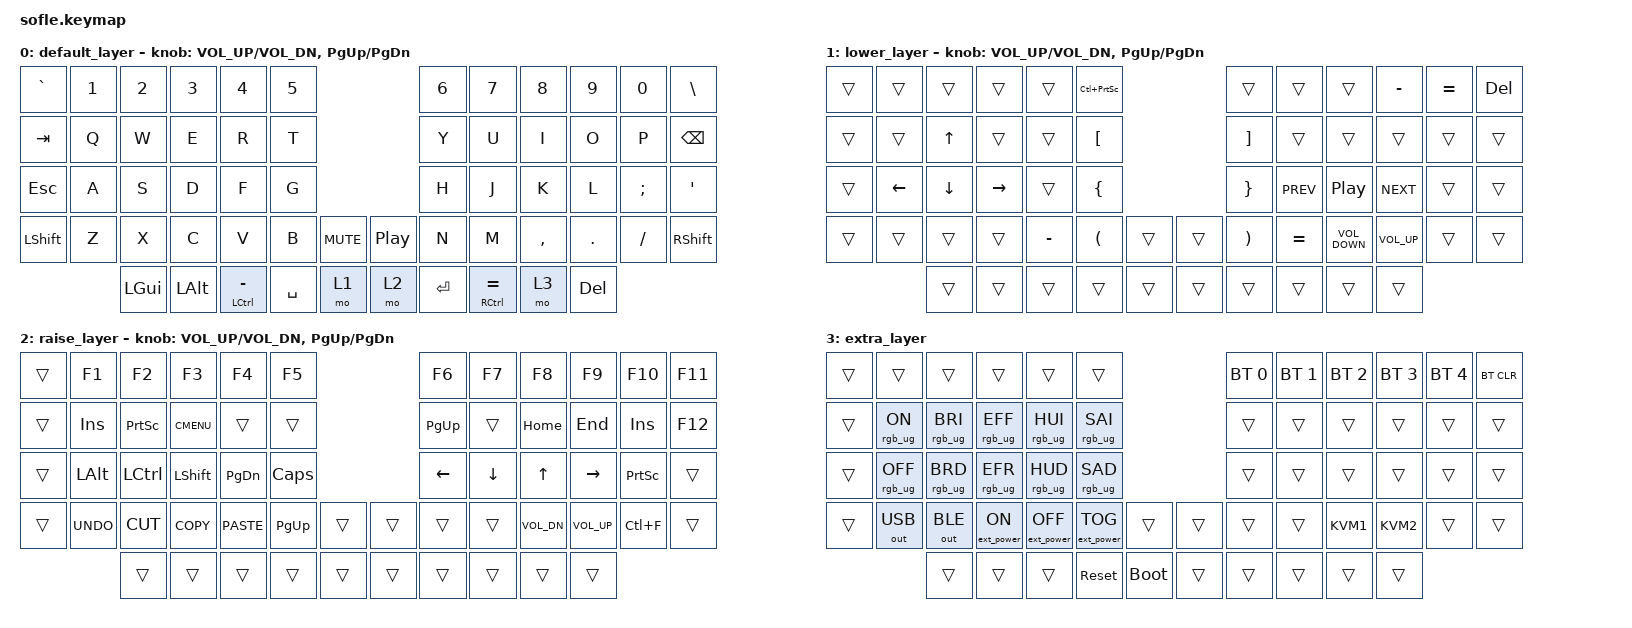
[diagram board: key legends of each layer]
/*
 * Copyright (c) 2020 The ZMK Contributors
 *
 * SPDX-License-Identifier: MIT
 */

#include <behaviors.dtsi>
#include <dt-bindings/zmk/keys.h>
#include <dt-bindings/zmk/bt.h>
#include <dt-bindings/zmk/rgb.h>
#include <dt-bindings/zmk/ext_power.h>
#include <dt-bindings/zmk/outputs.h>
#include <dt-bindings/zmk/ext_power.h>

/ {
    macros {
        KVM1: scroll_lock_twice_then_1 {
            label = "SCROLL_LOCK_TWICE_THEN_1";
            compatible = "zmk,behavior-macro";
            #binding-cells = <0>;
            bindings
                = <&kp SCROLLLOCK>
                , <&kp SCROLLLOCK>
                , <&kp N1>
                ;
        };
        KVM2: scroll_lock_twice_then_2 {
            label = "SCROLL_LOCK_TWICE_THEN_2";
            compatible = "zmk,behavior-macro";
            #binding-cells = <0>;
            bindings
                = <&kp SCROLLLOCK>
                , <&kp SCROLLLOCK>
                , <&kp N2>
                ;
        };
    };
    keymap {
        compatible = "zmk,keymap";

        default_layer {
            // ------------------------------------------------------------------------------------------------------------
            // |  `    |  1  |  2  |  3   |  4     |  5   |                   |  6    |  7    |  8    |  9   |   0   |       |
            // |  TAB  |  Q  |  W  |  E   |  R     |  T   |                   |  Y    |  U    |  I    |  O   |   P   | BKSPC |
            // |  ESC  |  A  |  S  |  D   |  F     |  G   |                   |  H    |  J    |  K    |  L   |   ;   |   '   |
            // | SHIFT |  Z  |  X  |  C   |  V     |  B   |  MUTE  |  |       |  N    |  M    |  ,    |  .   |   /   | SHIFT |
            //               | GUI | ALT  | CTRL/- | SPACE|  LOWER |  | RAISE | ENTER | CTRL/=| RAISE | DEL  |

            bindings = <
&kp GRAVE  &kp N1  &kp N2    &kp N3    &kp N4           &kp N5                                     &kp N6   &kp N7           &kp N8     &kp N9   &kp N0    &kp BSLH
&kp TAB    &kp Q   &kp W     &kp E     &kp R            &kp T                                      &kp Y    &kp U            &kp I      &kp O    &kp P     &kp BSPC
&kp ESC    &kp A   &kp S     &kp D     &kp F            &kp G                                      &kp H    &kp J            &kp K      &kp L    &kp SEMI  &kp SQT
&kp LSHFT  &kp Z   &kp X     &kp C     &kp V            &kp B      &kp C_MUTE    &kp C_PLAY_PAUSE  &kp N    &kp M            &kp COMMA  &kp DOT  &kp FSLH  &kp RSHFT
                   &kp LGUI  &kp LALT  &mt LCTRL MINUS  &kp SPACE  &mo 1         &mo 2             &kp RET  &mt RCTRL EQUAL  &mo 3      &kp DEL
            >;

            sensor-bindings = <&inc_dec_kp C_VOL_UP C_VOL_DN &inc_dec_kp PG_UP PG_DN>;
        };

        lower_layer {
            // ------------------------------------------------------------------------------------------------------------
            // |       |  F1 |  F2 |  F3  |  F4  |  F5  |                   |  F6  |  F7   |  F8   |  F9  |  F10  |  F11  |
            // | `     |   1 |   2 |   3  |   4  |   5  |                   |   6  |   7   |   8   |   9  |    0  |  F12  |
            // |       |  !  |  @  |  #   |  $   |  %   |                   |  ^   |  &    |  *    |  (   |   )   |   |   |
            // |       |  =  |  -  |  +   |  {   |  }   |        |  |       |  [   |  ]    |  ;    |  :   |   \   |       |
            //               |     |      |      |      |        |  |       |      |       |       |      |

            bindings = <
&trans  &trans    &trans    &trans     &trans     &kp LC(PRINTSCREEN)                     &trans                 &trans      &trans             &kp MINUS        &kp EQUAL  &kp DEL
&trans  &trans    &kp UP    &trans     &trans     &kp LEFT_BRACKET                        &kp RIGHT_BRACKET      &trans      &trans             &trans           &trans     &trans
&trans  &kp LEFT  &kp DOWN  &kp RIGHT  &trans     &kp LEFT_BRACE                          &kp RIGHT_BRACE        &kp C_PREV  &kp C_PLAY_PAUSE   &kp C_NEXT       &trans     &trans
&trans  &trans    &trans    &trans     &kp MINUS  &kp LEFT_PARENTHESIS  &trans    &trans  &kp RIGHT_PARENTHESIS  &kp EQUAL   &kp C_VOLUME_DOWN  &kp C_VOLUME_UP  &trans     &trans
                  &trans    &trans     &trans     &trans                &trans    &trans  &trans                 &trans      &trans             &trans
            >;

            sensor-bindings = <&inc_dec_kp C_VOL_UP C_VOL_DN &inc_dec_kp PG_UP PG_DN>;
        };

        raise_layer {
            // ------------------------------------------------------------------------------------------------------------
            // |BTCLR| BT1  | BT2  |  BT3  |  BT4  |  BT5 |                |      |      |       |      |       |       |
            // |OUT_TOG| INS  | PSCR | GUI   |       |      |                | PGUP |      |   ^   |      |       |       |
            // |RGBT | ALT  | CTRL | SHIFT |       | CAPS |                | PGDN |   <- |   v   |  ->  |  DEL  | BKSPC |
            // |     | UNDO | CUT  | COPY  | PASTE |      |      |  |      |      |      |       |      |       |       |
            //              |      |       |       |      |      |  |      |      |      |       |      |

            bindings = <
&trans  &kp F1      &kp F2     &kp F3       &kp F4       &kp F5                       &kp F6     &kp F7    &kp F8        &kp F9        &kp F10          &kp F11
&trans  &kp INS     &kp PSCRN  &kp K_CMENU  &trans       &trans                       &kp PG_UP  &trans    &kp HOME      &kp END       &kp INS          &kp F12
&trans  &kp LALT    &kp LCTRL  &kp LSHFT    &kp PG_DN    &kp CLCK                     &kp LEFT   &kp DOWN  &kp UP_ARROW  &kp RIGHT     &kp PRINTSCREEN  &trans
&trans  &kp K_UNDO  &kp K_CUT  &kp K_COPY   &kp K_PASTE  &kp PG_UP  &trans    &trans  &trans     &trans    &kp C_VOL_DN  &kp C_VOL_UP  &kp LC(F)        &trans
                    &trans     &trans       &trans       &trans     &trans    &trans  &trans     &trans    &trans        &trans
            >;

            sensor-bindings = <&inc_dec_kp C_VOL_UP C_VOL_DN &inc_dec_kp PG_UP PG_DN>;
        };

        extra_layer {
            bindings = <
&trans  &trans           &trans           &trans           &trans            &trans                                    &bt BT_SEL 0  &bt BT_SEL 1  &bt BT_SEL 2  &bt BT_SEL 3  &bt BT_SEL 4  &bt BT_CLR
&trans  &rgb_ug RGB_ON   &rgb_ug RGB_BRI  &rgb_ug RGB_EFF  &rgb_ug RGB_HUI   &rgb_ug RGB_SAI                           &trans        &trans        &trans        &trans        &trans        &trans
&trans  &rgb_ug RGB_OFF  &rgb_ug RGB_BRD  &rgb_ug RGB_EFR  &rgb_ug RGB_HUD   &rgb_ug RGB_SAD                           &trans        &trans        &trans        &trans        &trans        &trans
&trans  &out OUT_USB     &out OUT_BLE     &ext_power EP_ON &ext_power EP_OFF &ext_power EP_TOG  &trans         &trans  &trans        &trans        &KVM1         &KVM2        &trans        &trans
                         &trans           &trans           &trans            &sys_reset         &bootloader    &trans  &trans        &trans        &trans        &trans
            >;
        };
    };
};
